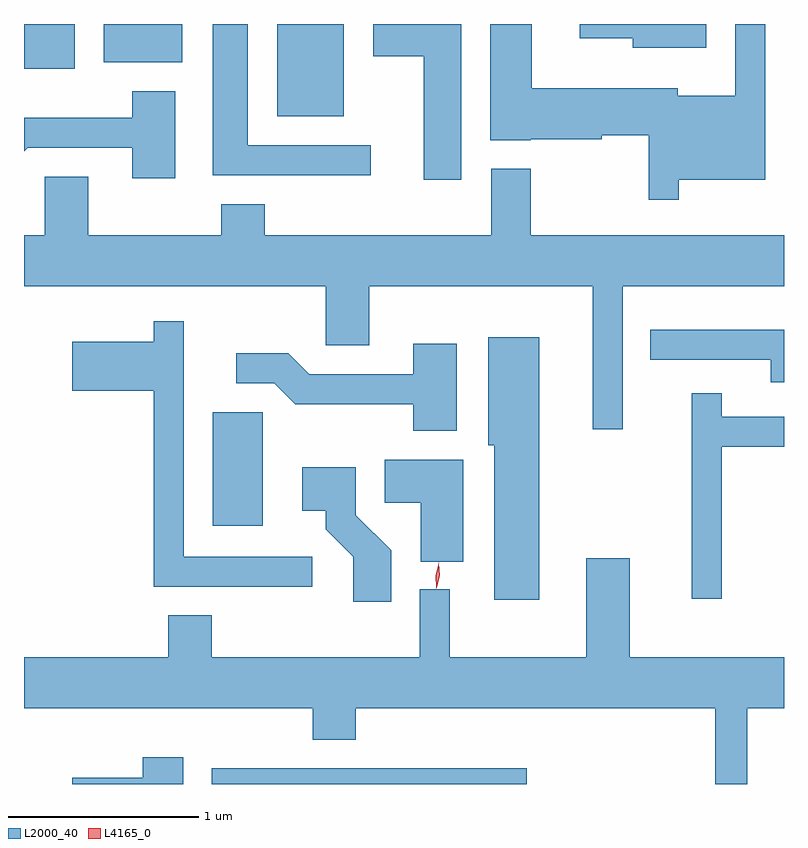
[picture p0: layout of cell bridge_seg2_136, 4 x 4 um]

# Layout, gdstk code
import gdstk
lib = gdstk.Library(unit=1e-6, precision=1e-09)
def R(c, l, rs):  # rectangles x0, y0, x1, y1
    for r in rs: c.add(gdstk.rectangle(r[:2], r[2:], *l))
def P(c, l, *ps):  # polygons
    for p in ps: c.add(gdstk.Polygon(p, *l))
L2000_40 = (2000, 40)
L4165_0 = (4165, 0)

bridge_seg2_136 = lib.new_cell('bridge_seg2_136')
R(bridge_seg2_136, L2000_40, [(976.381,1107.857,978.039,1107.939), (976.386,1109.216,976.649,1109.814), (976.726,1111.371,977.074,1111.857), (975.392,1111.621,975.659,1111.857), (975.811,1111.656,976.224,1111.857)])
P(bridge_seg2_136, L2000_40, [(977.218,1111.219),(976.569,1111.219),(976.569,1111.857),(976.386,1111.857),(976.386,1111.061),(977.218,1111.061)],
  [(977.694,1111.857),(977.231,1111.857),(977.231,1111.686),(977.496,1111.686),(977.496,1111.036),(977.694,1111.036)],
  [(978.984,1111.857),(978.316,1111.857),(978.316,1111.781),(978.596,1111.781),(978.596,1111.731),(978.984,1111.731)],
  [(978.839,1111.036),(979.294,1111.036),(979.294,1111.857),(979.136,1111.857),(979.136,1111.479),(978.834,1111.479),(978.834,1111.519),(978.064,1111.519),(978.064,1111.857),(977.846,1111.857),(977.846,1111.246),(978.06,1111.246),(978.06,1111.251),(978.434,1111.251),(978.434,1111.271),(978.681,1111.271),(978.681,1110.933),(978.839,1110.933)],
  [(976.189,1111.504),(975.961,1111.504),(975.961,1111.364),(975.392,1111.364),(975.392,1111.186),(975.412,1111.206),(975.961,1111.206),(975.961,1111.046),(976.189,1111.046)],
  [(978.544,1110.476),(979.392,1110.476),(979.392,1110.744),(978.059,1110.744),(978.059,1111.094),(977.851,1111.094),(977.851,1110.744),(976.659,1110.744),(976.659,1110.909),(976.431,1110.909),(976.431,1110.744),(975.729,1110.744),(975.729,1111.054),(975.501,1111.054),(975.501,1110.744),(975.392,1110.744),(975.392,1110.476),(976.981,1110.476),(976.981,1110.166),(977.209,1110.166),(977.209,1110.476),(978.386,1110.476),(978.386,1109.723),(978.544,1109.723)],
  [(976.908,1109.054),(976.234,1109.054),(976.234,1110.293),(976.076,1110.293),(976.076,1110.184),(975.646,1110.184),(975.646,1109.926),(976.076,1109.926),(976.076,1108.896),(976.908,1108.896)],
  [(979.392,1110.249),(978.688,1110.249),(978.688,1110.091),(979.321,1110.091),(979.321,1109.971),(979.392,1109.971)],
  [(978.104,1110.209),(977.836,1110.209),(977.836,1109.641),(977.866,1109.641),(977.866,1108.826),(978.104,1108.826)],
  [(977.669,1110.174),(977.441,1110.174),(977.441,1110.014),(976.892,1110.014),(976.782,1110.124),(976.508,1110.124),(976.508,1109.966),(976.709,1109.966),(976.819,1109.856),(977.441,1109.856),(977.441,1109.716),(977.669,1109.716)],
  [(979.064,1109.631),(979.392,1109.631),(979.392,1109.789),(979.064,1109.789),(979.064,1109.913),(978.906,1109.913),(978.906,1108.833),(979.064,1108.833)],
  [(977.704,1109.564),(977.291,1109.564),(977.291,1109.336),(977.481,1109.336),(977.481,1109.026),(977.704,1109.026)],
  [(977.324,1109.087),(977.139,1109.272),(977.139,1109.524),(976.856,1109.524),(976.856,1109.296),(976.981,1109.296),(976.981,1109.199),(977.126,1109.054),(977.126,1108.816),(977.324,1108.816)],
  [(979.199,1108.256),(979.392,1108.256),(979.392,1108.524),(978.579,1108.524),(978.579,1109.044),(978.351,1109.044),(978.351,1108.524),(977.634,1108.524),(977.634,1108.883),(977.476,1108.883),(977.476,1108.524),(976.379,1108.524),(976.379,1108.744),(976.151,1108.744),(976.151,1108.524),(975.392,1108.524),(975.392,1108.256),(976.911,1108.256),(976.911,1108.091),(977.139,1108.091),(977.139,1108.256),(979.031,1108.256),(979.031,1107.857),(979.199,1107.857)],
  [(976.229,1107.999),(976.016,1107.999),(976.016,1107.889),(975.646,1107.889),(975.646,1107.857),(976.229,1107.857)])
P(bridge_seg2_136, L4165_0, [(977.563,1108.888),(977.563,1108.889),(977.56,1108.956),(977.575,1109.02),(977.576,1109.021),(977.576,1109.02),(977.579,1108.954),(977.564,1108.889)])

lib.write_gds('bridge_seg2_136.gds')
